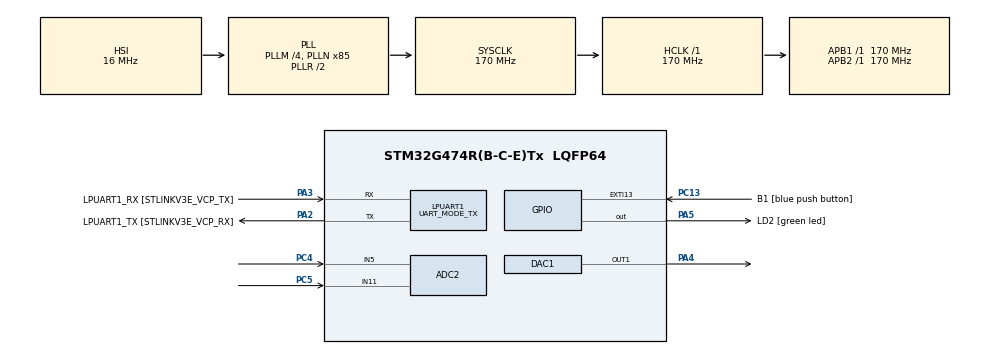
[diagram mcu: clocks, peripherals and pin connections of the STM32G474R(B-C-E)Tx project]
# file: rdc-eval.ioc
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ADC2.Channel-0\#ChannelRegularConversion=ADC_CHANNEL_5
ADC2.Channel-2\#ChannelRegularConversion=ADC_CHANNEL_5
ADC2.ExternalTrigConv=ADC_EXTERNALTRIG_T4_TRGO
ADC2.NbrOfConversion=2
ADC2.NbrOfConversionFlag=1
ADC2.OffsetNumber-0\#ChannelRegularConversion=ADC_OFFSET_NONE
ADC2.OffsetNumber-2\#ChannelRegularConversion=ADC_OFFSET_NONE
ADC2.Overrun=ADC_OVR_DATA_PRESERVED
ADC2.Rank-0\#ChannelRegularConversion=1
ADC2.Rank-2\#ChannelRegularConversion=2
ADC2.SamplingTime-0\#ChannelRegularConversion=ADC_SAMPLETIME_2CYCLES_5
ADC2.SamplingTime-2\#ChannelRegularConversion=ADC_SAMPLETIME_2CYCLES_5
DAC1.DAC_Trigger_OUT1-DAC_OUT1=DAC_TRIGGER_T2_TRGO
Dma.ADC2.1.Direction=DMA_PERIPH_TO_MEMORY
Dma.ADC2.1.EventEnable=DISABLE
Dma.ADC2.1.Instance=DMA1_Channel2
Dma.ADC2.1.MemDataAlignment=DMA_MDATAALIGN_HALFWORD
Dma.ADC2.1.MemInc=DMA_MINC_ENABLE
Dma.ADC2.1.Mode=DMA_CIRCULAR
Dma.ADC2.1.PeriphDataAlignment=DMA_PDATAALIGN_HALFWORD
Dma.ADC2.1.PeriphInc=DMA_PINC_DISABLE
Dma.ADC2.1.Polarity=HAL_DMAMUX_REQ_GEN_RISING
Dma.ADC2.1.Priority=DMA_PRIORITY_LOW
Dma.ADC2.1.RequestNumber=1
Dma.ADC2.1.SignalID=NONE
Dma.ADC2.1.SyncEnable=DISABLE
Dma.ADC2.1.SyncPolarity=HAL_DMAMUX_SYNC_NO_EVENT
Dma.ADC2.1.SyncRequestNumber=1
Dma.ADC2.1.SyncSignalID=NONE
Dma.DAC1_CH1.0.Direction=DMA_MEMORY_TO_PERIPH
Dma.DAC1_CH1.0.EventEnable=DISABLE
Dma.DAC1_CH1.0.Instance=DMA1_Channel1
Dma.DAC1_CH1.0.MemDataAlignment=DMA_MDATAALIGN_HALFWORD
Dma.DAC1_CH1.0.MemInc=DMA_MINC_ENABLE
Dma.DAC1_CH1.0.Mode=DMA_CIRCULAR
Dma.DAC1_CH1.0.PeriphDataAlignment=DMA_PDATAALIGN_WORD
Dma.DAC1_CH1.0.PeriphInc=DMA_PINC_DISABLE
Dma.DAC1_CH1.0.Polarity=HAL_DMAMUX_REQ_GEN_RISING
Dma.DAC1_CH1.0.Priority=DMA_PRIORITY_LOW
Dma.DAC1_CH1.0.RequestNumber=1
Dma.DAC1_CH1.0.SignalID=NONE
Dma.DAC1_CH1.0.SyncEnable=DISABLE
Dma.DAC1_CH1.0.SyncPolarity=HAL_DMAMUX_SYNC_NO_EVENT
Dma.DAC1_CH1.0.SyncRequestNumber=1
Dma.DAC1_CH1.0.SyncSignalID=NONE
Dma.LPUART1_TX.2.Direction=DMA_MEMORY_TO_PERIPH
Dma.LPUART1_TX.2.EventEnable=DISABLE
Dma.LPUART1_TX.2.Instance=DMA1_Channel3
Dma.LPUART1_TX.2.MemDataAlignment=DMA_MDATAALIGN_BYTE
Dma.LPUART1_TX.2.MemInc=DMA_MINC_ENABLE
Dma.LPUART1_TX.2.Mode=DMA_CIRCULAR
Dma.LPUART1_TX.2.PeriphDataAlignment=DMA_PDATAALIGN_BYTE
Dma.LPUART1_TX.2.PeriphInc=DMA_PINC_DISABLE
Dma.LPUART1_TX.2.Polarity=HAL_DMAMUX_REQ_GEN_RISING
Dma.LPUART1_TX.2.Priority=DMA_PRIORITY_LOW
Dma.LPUART1_TX.2.RequestNumber=1
Dma.LPUART1_TX.2.SignalID=NONE
Dma.LPUART1_TX.2.SyncEnable=DISABLE
Dma.LPUART1_TX.2.SyncPolarity=HAL_DMAMUX_SYNC_NO_EVENT
Dma.LPUART1_TX.2.SyncRequestNumber=1
Dma.LPUART1_TX.2.SyncSignalID=NONE
Dma.Request0=DAC1_CH1
Dma.Request1=ADC2
Dma.Request2=LPUART1_TX
LPUART1.Mode=UART_MODE_TX
Mcu.Family=STM32G4
Mcu.Name=STM32G474R(B-C-E)Tx
Mcu.Package=LQFP64
NVIC.DMA1_Channel1_IRQn=true\:0\:0\:false\:false\:true\:false\:true\:true
NVIC.DMA1_Channel2_IRQn=true\:0\:0\:false\:false\:true\:false\:true\:true
NVIC.DMA1_Channel3_IRQn=true\:0\:0\:false\:false\:true\:false\:true\:true
NVIC.EXTI15_10_IRQn=true\:0\:0\:false\:false\:true\:true\:true\:true
NVIC.LPUART1_IRQn=true\:0\:0\:false\:false\:true\:true\:true\:true
NVIC.PriorityGroup=NVIC_PRIORITYGROUP_4
NVIC.TIM3_IRQn=true\:0\:0\:false\:false\:true\:true\:true\:true
PA13.GPIO_Label=T_SWDIO
PA13.Signal=SYS_JTMS-SWDIO
PA14.GPIO_Label=T_SWCLK
PA14.Signal=SYS_JTCK-SWCLK
PA2.GPIO_Label=LPUART1_TX [STLINKV3E_VCP_RX]
PA2.Mode=Asynchronous
PA2.Signal=LPUART1_TX
PA3.GPIO_Label=LPUART1_RX [STLINKV3E_VCP_TX]
PA3.Mode=Asynchronous
PA3.Signal=LPUART1_RX
PA4.Signal=COMP_DAC11_group
PA5.GPIO_Label=LD2 [green led]
PA5.Signal=GPIO_Output
PB3.GPIO_Label=T_SWO
PB3.Signal=SYS_JTDO-SWO
PC13.GPIO_Label=B1 [blue push button]
PC13.Signal=GPXTI13
PC14-OSC32_IN.GPIO_Label=RCC_OSC32_IN
PC14-OSC32_IN.Signal=RCC_OSC32_IN
PC15-OSC32_OUT.GPIO_Label=RCC_OSC32_OUT
PC15-OSC32_OUT.Signal=RCC_OSC32_OUT
PC4.Mode=IN5-Single-Ended
PC4.Signal=ADC2_IN5
PC5.Mode=IN11-Single-Ended
PC5.Signal=ADC2_IN11
PF0-OSC_IN.GPIO_Label=RCC_OSC_IN
PF0-OSC_IN.Signal=RCC_OSC_IN
PF1-OSC_OUT.GPIO_Label=RCC_OSC_OUT
PF1-OSC_OUT.Signal=RCC_OSC_OUT
ProjectManager.HeapSize=0x200
ProjectManager.StackSize=0x400
ProjectManager.TargetToolchain=STM32CubeIDE
RCC.ADC12Freq_Value=170000000
RCC.ADC345Freq_Value=170000000
RCC.AHBFreq_Value=170000000
RCC.APB1Freq_Value=170000000
RCC.APB1TimFreq_Value=170000000
RCC.APB2Freq_Value=170000000
RCC.APB2TimFreq_Value=170000000
RCC.CortexFreq_Value=170000000
RCC.EXTERNAL_CLOCK_VALUE=12288000
RCC.HCLKFreq_Value=170000000
RCC.HSE_VALUE=24000000
RCC.HSI48_VALUE=48000000
RCC.HSI_VALUE=16000000
RCC.LSE_VALUE=32768
RCC.PLLM=RCC_PLLM_DIV4
RCC.PLLN=85
RCC.RTCClockSelection=RCC_RTCCLKSOURCE_LSE
RCC.SYSCLKFreq_VALUE=170000000
RCC.SYSCLKSource=RCC_SYSCLKSOURCE_PLLCLK
RCC.USBFreq_Value=170000000
RCC.VCOOutputFreq_Value=340000000
SH.COMP_DAC11_group.0=DAC1_OUT1,DAC_OUT1
TIM2.PeriodNoDither=1
TIM2.Prescaler=32
TIM2.TIM_MasterOutputTrigger=TIM_TRGO_UPDATE
TIM3.PeriodNoDither=173
TIM3.Prescaler=256
TIM3.TIM_MasterOutputTrigger=TIM_TRGO_UPDATE
TIM4.PeriodNoDither=0
TIM4.Prescaler=12
TIM4.TIM_MasterOutputTrigger=TIM_TRGO_UPDATE
VP_SYS_VS_DBSignals.Mode=DisableDeadBatterySignals
VP_TIM2_VS_ClockSourceINT.Mode=Internal
VP_TIM3_VS_ClockSourceITR.Mode=TriggerSource_ITR1
VP_TIM3_VS_ControllerModeClock.Mode=Clock Mode
VP_TIM4_VS_ClockSourceITR.Mode=TriggerSource_ITR1
VP_TIM4_VS_ControllerModeClock.Mode=Clock Mode
board=NUCLEO-G474RE

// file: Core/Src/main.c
/* USER CODE BEGIN Header */
/**
  ******************************************************************************
  * @file           : main.c
  * @brief          : Main program body
  ******************************************************************************
  * @attention
  *
  * Copyright (c) 2025 STMicroelectronics.
  * All rights reserved.
  *
  * This software is licensed under terms that can be found in the LICENSE file
  * in the root directory of this software component.
  * If no LICENSE file comes with this software, it is provided AS-IS.
  *
  ******************************************************************************
  */
/* USER CODE END Header */
#include "main.h"

/* USER CODE BEGIN Includes */
#include "resolver.h"
#include "serial.h"

/* USER CODE END Includes */

ADC_HandleTypeDef hadc2;
DMA_HandleTypeDef hdma_adc2;

DAC_HandleTypeDef hdac1;
DMA_HandleTypeDef hdma_dac1_ch1;

UART_HandleTypeDef hlpuart1;
DMA_HandleTypeDef hdma_lpuart1_tx;

TIM_HandleTypeDef htim2;
TIM_HandleTypeDef htim3;
TIM_HandleTypeDef htim4;

/* USER CODE BEGIN PV */
Resolver resolver;
Serial_t serial;

volatile uint16_t tim3_flag = 0;

static const uint16_t sine_lookup_table[LOOKUP_TABLE_SIZE] = {
		0x73a, 0x75b, 0x77c, 0x79d, 0x7be, 0x7df, 0x800, 0x821,
		0x841, 0x862, 0x882, 0x8a2, 0x8c2, 0x8e1, 0x901, 0x920,
		0x93f, 0x95d, 0x97b, 0x999, 0x9b6, 0x9d3, 0x9f0, 0xa0c,
		0xa28, 0xa43, 0xa5e, 0xa79, 0xa92, 0xaac, 0xac5, 0xadd,
		0xaf5, 0xb0c, 0xb22, 0xb38, 0xb4e, 0xb62, 0xb76, 0xb8a,
		0xb9c, 0xbaf, 0xbc0, 0xbd1, 0xbe1, 0xbf0, 0xbfe, 0xc0c,
		0xc19, 0xc26, 0xc31, 0xc3c, 0xc46, 0xc4f, 0xc58, 0xc5f,
		0xc66, 0xc6c, 0xc71, 0xc76, 0xc79, 0xc7c, 0xc7e, 0xc80,
		0xc80, 0xc80, 0xc7e, 0xc7c, 0xc79, 0xc76, 0xc71, 0xc6c,
		0xc66, 0xc5f, 0xc58, 0xc4f, 0xc46, 0xc3c, 0xc31, 0xc26,
		0xc19, 0xc0c, 0xbfe, 0xbf0, 0xbe1, 0xbd1, 0xbc0, 0xbaf,
		0xb9c, 0xb8a, 0xb76, 0xb62, 0xb4e, 0xb38, 0xb22, 0xb0c,
		0xaf5, 0xadd, 0xac5, 0xaac, 0xa92, 0xa79, 0xa5e, 0xa43,
		0xa28, 0xa0c, 0x9f0, 0x9d3, 0x9b6, 0x999, 0x97b, 0x95d,
		0x93f, 0x920, 0x901, 0x8e1, 0x8c2, 0x8a2, 0x882, 0x862,
		0x841, 0x821, 0x800, 0x7df, 0x7be, 0x79d, 0x77c, 0x75b,
		0x73a, 0x719, 0x6f8, 0x6d7, 0x6b6, 0x695, 0x674, 0x653,
		0x633, 0x612, 0x5f2, 0x5d2, 0x5b2, 0x593, 0x573, 0x554,
		0x535, 0x517, 0x4f9, 0x4db, 0x4be, 0x4a1, 0x484, 0x468,
		0x44c, 0x431, 0x416, 0x3fb, 0x3e2, 0x3c8, 0x3af, 0x397,
		0x37f, 0x368, 0x352, 0x33c, 0x326, 0x312, 0x2fe, 0x2ea,
		0x2d8, 0x2c5, 0x2b4, 0x2a3, 0x293, 0x284, 0x276, 0x268,
		0x25b, 0x24e, 0x243, 0x238, 0x22e, 0x225, 0x21c, 0x215,
		0x20e, 0x208, 0x203, 0x1fe, 0x1fb, 0x1f8, 0x1f6, 0x1f4,
		0x1f4, 0x1f4, 0x1f6, 0x1f8, 0x1fb, 0x1fe, 0x203, 0x208,
		0x20e, 0x215, 0x21c, 0x225, 0x22e, 0x238, 0x243, 0x24e,
		0x25b, 0x268, 0x276, 0x284, 0x293, 0x2a3, 0x2b4, 0x2c5,
		0x2d8, 0x2ea, 0x2fe, 0x312, 0x326, 0x33c, 0x352, 0x368,
		0x37f, 0x397, 0x3af, 0x3c8, 0x3e2, 0x3fb, 0x416, 0x431,
		0x44c, 0x468, 0x484, 0x4a1, 0x4be, 0x4db, 0x4f9, 0x517,
		0x535, 0x554, 0x573, 0x593, 0x5b2, 0x5d2, 0x5f2, 0x612,
		0x633, 0x653, 0x674, 0x695, 0x6b6, 0x6d7, 0x6f8, 0x719
};

uint16_t test_buff[LOOKUP_TABLE_SIZE];

uint16_t index_counter = 0;
/* USER CODE END PV */

void SystemClock_Config(void);
static void MX_GPIO_Init(void);
static void MX_DMA_Init(void);
static void MX_DAC1_Init(void);
static void MX_TIM2_Init(void);
static void MX_LPUART1_UART_Init(void);
static void MX_TIM3_Init(void);
static void MX_TIM4_Init(void);
static void MX_ADC2_Init(void);

/* USER CODE BEGIN 0 */
// TIM3 Interrupt Callback
void HAL_TIM_PeriodElapsedCallback(TIM_HandleTypeDef *htim) {
    if (htim->Instance == TIM3) {
        tim3_flag = 1;
    }
}

// UART TX Complete Callback
void HAL_UART_TxCpltCallback(UART_HandleTypeDef *huart) {
    // Call the serial module's transmit complete callback
    Serial_Transmit_Complete_Callback(&serial);
}

// UART TX callback

/* USER CODE END 0 */

int main(void)
{

  /* MCU Configuration--------------------------------------------------------*/

  /* Reset of all peripherals, Initializes the Flash interface and the Systick. */
  HAL_Init();

  /* Configure the system clock */
  SystemClock_Config();

  /* Initialize all configured peripherals */
  MX_GPIO_Init();
  MX_DMA_Init();
  MX_DAC1_Init();
  MX_TIM2_Init();
  MX_LPUART1_UART_Init();
  MX_TIM3_Init();
  MX_TIM4_Init();
  MX_ADC2_Init();
  /* USER CODE BEGIN 2 */
  // Initialize serial with USART2
  Serial_Init(&serial, &hlpuart1);

  resolver_init(&resolver,
			   &hdac1,
			   &hadc2,
			   &htim2,
			   &htim4,
			   sine_lookup_table);
  resolver_start(&resolver);
  HAL_TIM_Base_Start_IT(&htim3);

  for(uint16_t i=0;i<LOOKUP_TABLE_SIZE/2;i++)
  {
	  test_buff[i*2] = i;
	  test_buff[1+i*2] = i;
  }
  /* USER CODE END 2 */

  /* Infinite loop */
  /* USER CODE BEGIN WHILE */
  while (1)
  {
	  if (tim3_flag) {
		  tim3_flag = 0;  // Reset flag

		  // If buffer is full, fetch new ADC values
		  if (index_counter >= LOOKUP_TABLE_SIZE/2)
		  {
//			  get_adc_buffer_safe(&resolver, test_buff, LOOKUP_TABLE_SIZE);
			  index_counter = 0;
		  }

		  // Convert ADC value to string and send via UART
		  char buff[32];
		  sprintf(buff, "%u,%u,%lu\r\n", test_buff[index_counter*2], test_buff[1+index_counter*2], resolver.adc_buffer[get_excitation_position(&resolver)]);
		  Serial_SendString(&serial, buff);

		  index_counter++;
	  }
    /* USER CODE END WHILE */

  }
}

void SystemClock_Config(void)
{
  RCC_OscInitTypeDef RCC_OscInitStruct = {0};
  RCC_ClkInitTypeDef RCC_ClkInitStruct = {0};

  /** Configure the main internal regulator output voltage
  */
  HAL_PWREx_ControlVoltageScaling(PWR_REGULATOR_VOLTAGE_SCALE1_BOOST);

  /** Initializes the RCC Oscillators according to the specified parameters
  * in the RCC_OscInitTypeDef structure.
  */
  RCC_OscInitStruct.OscillatorType = RCC_OSCILLATORTYPE_HSI;
  RCC_OscInitStruct.HSIState = RCC_HSI_ON;
  RCC_OscInitStruct.HSICalibrationValue = RCC_HSICALIBRATION_DEFAULT;
  RCC_OscInitStruct.PLL.PLLState = RCC_PLL_ON;
  RCC_OscInitStruct.PLL.PLLSource = RCC_PLLSOURCE_HSI;
  RCC_OscInitStruct.PLL.PLLM = RCC_PLLM_DIV4;
  RCC_OscInitStruct.PLL.PLLN = 85;
  RCC_OscInitStruct.PLL.PLLP = RCC_PLLP_DIV2;
  RCC_OscInitStruct.PLL.PLLQ = RCC_PLLQ_DIV2;
  RCC_OscInitStruct.PLL.PLLR = RCC_PLLR_DIV2;
  if (HAL_RCC_OscConfig(&RCC_OscInitStruct) != HAL_OK)
  {
    Error_Handler();
  }

  /** Initializes the CPU, AHB and APB buses clocks
  */
  RCC_ClkInitStruct.ClockType = RCC_CLOCKTYPE_HCLK|RCC_CLOCKTYPE_SYSCLK
                              |RCC_CLOCKTYPE_PCLK1|RCC_CLOCKTYPE_PCLK2;
  RCC_ClkInitStruct.SYSCLKSource = RCC_SYSCLKSOURCE_PLLCLK;
  RCC_ClkInitStruct.AHBCLKDivider = RCC_SYSCLK_DIV1;
  RCC_ClkInitStruct.APB1CLKDivider = RCC_HCLK_DIV1;
  RCC_ClkInitStruct.APB2CLKDivider = RCC_HCLK_DIV1;

  if (HAL_RCC_ClockConfig(&RCC_ClkInitStruct, FLASH_LATENCY_4) != HAL_OK)
  {
    Error_Handler();
  }
}

static void MX_ADC2_Init(void)
{

  ADC_ChannelConfTypeDef sConfig = {0};

  /** Common config
  */
  hadc2.Instance = ADC2;
  hadc2.Init.ClockPrescaler = ADC_CLOCK_SYNC_PCLK_DIV4;
  hadc2.Init.Resolution = ADC_RESOLUTION_12B;
  hadc2.Init.DataAlign = ADC_DATAALIGN_RIGHT;
  hadc2.Init.GainCompensation = 0;
  hadc2.Init.ScanConvMode = ADC_SCAN_ENABLE;
  hadc2.Init.EOCSelection = ADC_EOC_SINGLE_CONV;
  hadc2.Init.LowPowerAutoWait = DISABLE;
  hadc2.Init.ContinuousConvMode = DISABLE;
  hadc2.Init.NbrOfConversion = 2;
  hadc2.Init.DiscontinuousConvMode = DISABLE;
  hadc2.Init.ExternalTrigConv = ADC_EXTERNALTRIG_T4_TRGO;
  hadc2.Init.ExternalTrigConvEdge = ADC_EXTERNALTRIGCONVEDGE_RISING;
  hadc2.Init.DMAContinuousRequests = DISABLE;
  hadc2.Init.Overrun = ADC_OVR_DATA_PRESERVED;
  hadc2.Init.OversamplingMode = DISABLE;
  if (HAL_ADC_Init(&hadc2) != HAL_OK)
  {
    Error_Handler();
  }

  /** Configure Regular Channel
  */
  sConfig.Channel = ADC_CHANNEL_5;
  sConfig.Rank = ADC_REGULAR_RANK_1;
  sConfig.SamplingTime = ADC_SAMPLETIME_2CYCLES_5;
  sConfig.SingleDiff = ADC_SINGLE_ENDED;
  sConfig.OffsetNumber = ADC_OFFSET_NONE;
  sConfig.Offset = 0;
  if (HAL_ADC_ConfigChannel(&hadc2, &sConfig) != HAL_OK)
  {
    Error_Handler();
  }

  /** Configure Regular Channel
  */
  sConfig.Rank = ADC_REGULAR_RANK_2;
  if (HAL_ADC_ConfigChannel(&hadc2, &sConfig) != HAL_OK)
  {
    Error_Handler();
  }

}

static void MX_DAC1_Init(void)
{

  DAC_ChannelConfTypeDef sConfig = {0};

  /** DAC Initialization
  */
  hdac1.Instance = DAC1;
  if (HAL_DAC_Init(&hdac1) != HAL_OK)
  {
    Error_Handler();
  }

  /** DAC channel OUT1 config
  */
  sConfig.DAC_HighFrequency = DAC_HIGH_FREQUENCY_INTERFACE_MODE_AUTOMATIC;
  sConfig.DAC_DMADoubleDataMode = DISABLE;
  sConfig.DAC_SignedFormat = DISABLE;
  sConfig.DAC_SampleAndHold = DAC_SAMPLEANDHOLD_DISABLE;
  sConfig.DAC_Trigger = DAC_TRIGGER_T2_TRGO;
  sConfig.DAC_Trigger2 = DAC_TRIGGER_NONE;
  sConfig.DAC_OutputBuffer = DAC_OUTPUTBUFFER_ENABLE;
  sConfig.DAC_ConnectOnChipPeripheral = DAC_CHIPCONNECT_EXTERNAL;
  sConfig.DAC_UserTrimming = DAC_TRIMMING_FACTORY;
  if (HAL_DAC_ConfigChannel(&hdac1, &sConfig, DAC_CHANNEL_1) != HAL_OK)
  {
    Error_Handler();
  }

}

static void MX_LPUART1_UART_Init(void)
{

  hlpuart1.Instance = LPUART1;
  hlpuart1.Init.BaudRate = 209700;
  hlpuart1.Init.WordLength = UART_WORDLENGTH_8B;
  hlpuart1.Init.StopBits = UART_STOPBITS_1;
  hlpuart1.Init.Parity = UART_PARITY_NONE;
  hlpuart1.Init.Mode = UART_MODE_TX;
  hlpuart1.Init.HwFlowCtl = UART_HWCONTROL_NONE;
  hlpuart1.Init.OneBitSampling = UART_ONE_BIT_SAMPLE_DISABLE;
  hlpuart1.Init.ClockPrescaler = UART_PRESCALER_DIV1;
  hlpuart1.AdvancedInit.AdvFeatureInit = UART_ADVFEATURE_NO_INIT;
  if (HAL_UART_Init(&hlpuart1) != HAL_OK)
  {
    Error_Handler();
  }
  if (HAL_UARTEx_SetTxFifoThreshold(&hlpuart1, UART_TXFIFO_THRESHOLD_1_8) != HAL_OK)
  {
    Error_Handler();
  }
  if (HAL_UARTEx_SetRxFifoThreshold(&hlpuart1, UART_RXFIFO_THRESHOLD_1_8) != HAL_OK)
  {
    Error_Handler();
  }
  if (HAL_UARTEx_DisableFifoMode(&hlpuart1) != HAL_OK)
  {
    Error_Handler();
  }

}

static void MX_TIM2_Init(void)
{

  TIM_ClockConfigTypeDef sClockSourceConfig = {0};
  TIM_MasterConfigTypeDef sMasterConfig = {0};

  htim2.Instance = TIM2;
  htim2.Init.Prescaler = 32;
  htim2.Init.CounterMode = TIM_COUNTERMODE_UP;
  htim2.Init.Period = 1;
  htim2.Init.ClockDivision = TIM_CLOCKDIVISION_DIV1;
  htim2.Init.AutoReloadPreload = TIM_AUTORELOAD_PRELOAD_DISABLE;
  if (HAL_TIM_Base_Init(&htim2) != HAL_OK)
  {
    Error_Handler();
  }
  sClockSourceConfig.ClockSource = TIM_CLOCKSOURCE_INTERNAL;
  if (HAL_TIM_ConfigClockSource(&htim2, &sClockSourceConfig) != HAL_OK)
  {
    Error_Handler();
  }
  sMasterConfig.MasterOutputTrigger = TIM_TRGO_UPDATE;
  sMasterConfig.MasterSlaveMode = TIM_MASTERSLAVEMODE_DISABLE;
  if (HAL_TIMEx_MasterConfigSynchronization(&htim2, &sMasterConfig) != HAL_OK)
  {
    Error_Handler();
  }

}

static void MX_TIM3_Init(void)
{

  TIM_SlaveConfigTypeDef sSlaveConfig = {0};
  TIM_MasterConfigTypeDef sMasterConfig = {0};

  htim3.Instance = TIM3;
  htim3.Init.Prescaler = 256;
  htim3.Init.CounterMode = TIM_COUNTERMODE_UP;
  htim3.Init.Period = 173;
  htim3.Init.ClockDivision = TIM_CLOCKDIVISION_DIV1;
  htim3.Init.AutoReloadPreload = TIM_AUTORELOAD_PRELOAD_DISABLE;
  if (HAL_TIM_Base_Init(&htim3) != HAL_OK)
  {
    Error_Handler();
  }
  sSlaveConfig.SlaveMode = TIM_SLAVEMODE_EXTERNAL1;
  sSlaveConfig.InputTrigger = TIM_TS_ITR1;
  if (HAL_TIM_SlaveConfigSynchro(&htim3, &sSlaveConfig) != HAL_OK)
  {
    Error_Handler();
  }
  sMasterConfig.MasterOutputTrigger = TIM_TRGO_UPDATE;
  sMasterConfig.MasterSlaveMode = TIM_MASTERSLAVEMODE_DISABLE;
  if (HAL_TIMEx_MasterConfigSynchronization(&htim3, &sMasterConfig) != HAL_OK)
  {
    Error_Handler();
  }

}

static void MX_TIM4_Init(void)
{

  TIM_SlaveConfigTypeDef sSlaveConfig = {0};
  TIM_MasterConfigTypeDef sMasterConfig = {0};

  htim4.Instance = TIM4;
  htim4.Init.Prescaler = 12;
  htim4.Init.CounterMode = TIM_COUNTERMODE_UP;
  htim4.Init.Period = 0;
  htim4.Init.ClockDivision = TIM_CLOCKDIVISION_DIV1;
  htim4.Init.AutoReloadPreload = TIM_AUTORELOAD_PRELOAD_DISABLE;
  if (HAL_TIM_Base_Init(&htim4) != HAL_OK)
  {
    Error_Handler();
  }
  sSlaveConfig.SlaveMode = TIM_SLAVEMODE_EXTERNAL1;
  sSlaveConfig.InputTrigger = TIM_TS_ITR1;
  if (HAL_TIM_SlaveConfigSynchro(&htim4, &sSlaveConfig) != HAL_OK)
  {
    Error_Handler();
  }
  sMasterConfig.MasterOutputTrigger = TIM_TRGO_UPDATE;
  sMasterConfig.MasterSlaveMode = TIM_MASTERSLAVEMODE_DISABLE;
  if (HAL_TIMEx_MasterConfigSynchronization(&htim4, &sMasterConfig) != HAL_OK)
  {
    Error_Handler();
  }

}

static void MX_DMA_Init(void)
{

  /* DMA controller clock enable */
  __HAL_RCC_DMAMUX1_CLK_ENABLE();
  __HAL_RCC_DMA1_CLK_ENABLE();

  /* DMA interrupt init */
  /* DMA1_Channel1_IRQn interrupt configuration */
  HAL_NVIC_SetPriority(DMA1_Channel1_IRQn, 0, 0);
  HAL_NVIC_EnableIRQ(DMA1_Channel1_IRQn);
  /* DMA1_Channel2_IRQn interrupt configuration */
  HAL_NVIC_SetPriority(DMA1_Channel2_IRQn, 0, 0);
  HAL_NVIC_EnableIRQ(DMA1_Channel2_IRQn);
  /* DMA1_Channel3_IRQn interrupt configuration */
  HAL_NVIC_SetPriority(DMA1_Channel3_IRQn, 0, 0);
  HAL_NVIC_EnableIRQ(DMA1_Channel3_IRQn);

}

static void MX_GPIO_Init(void)
{
  GPIO_InitTypeDef GPIO_InitStruct = {0};

  /* GPIO Ports Clock Enable */
  __HAL_RCC_GPIOC_CLK_ENABLE();
  __HAL_RCC_GPIOF_CLK_ENABLE();
  __HAL_RCC_GPIOA_CLK_ENABLE();
  __HAL_RCC_GPIOB_CLK_ENABLE();

  /*Configure GPIO pin Output Level */
  HAL_GPIO_WritePin(LD2_GPIO_Port, LD2_Pin, GPIO_PIN_RESET);

  /*Configure GPIO pin : B1_Pin */
  GPIO_InitStruct.Pin = B1_Pin;
  GPIO_InitStruct.Mode = GPIO_MODE_IT_RISING;
  GPIO_InitStruct.Pull = GPIO_NOPULL;
  HAL_GPIO_Init(B1_GPIO_Port, &GPIO_InitStruct);

  /*Configure GPIO pin : LD2_Pin */
  GPIO_InitStruct.Pin = LD2_Pin;
  GPIO_InitStruct.Mode = GPIO_MODE_OUTPUT_PP;
  GPIO_InitStruct.Pull = GPIO_NOPULL;
  GPIO_InitStruct.Speed = GPIO_SPEED_FREQ_LOW;
  HAL_GPIO_Init(LD2_GPIO_Port, &GPIO_InitStruct);

  /* EXTI interrupt init*/
  HAL_NVIC_SetPriority(EXTI15_10_IRQn, 0, 0);
  HAL_NVIC_EnableIRQ(EXTI15_10_IRQn);

}

void Error_Handler(void)
{
  /* USER CODE BEGIN Error_Handler_Debug */
  /* User can add his own implementation to report the HAL error return state */
  __disable_irq();
  while (1)
  {

	  if (tim3_flag) {
		  Serial_SendString(&serial, "Error!\r\n");

		  tim3_flag = 0;  // Reset flag
	  }
  }
  /* USER CODE END Error_Handler_Debug */
}
